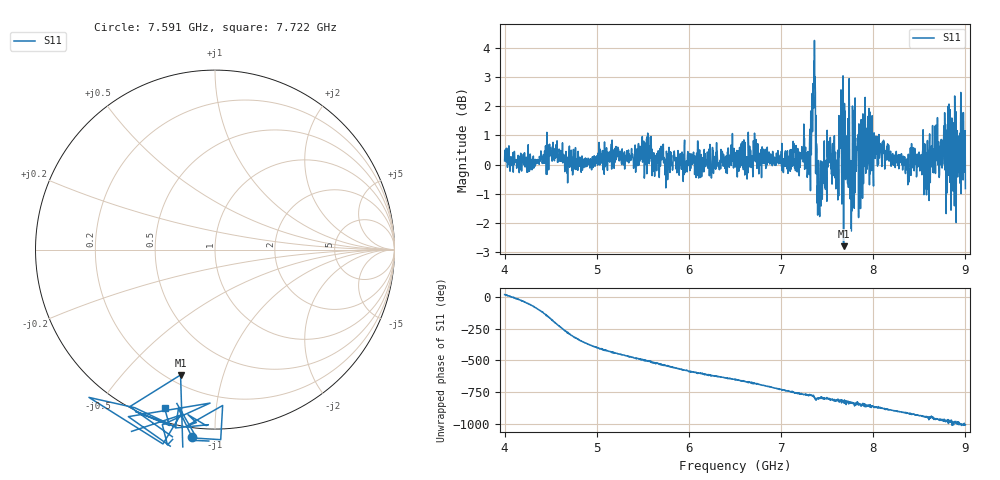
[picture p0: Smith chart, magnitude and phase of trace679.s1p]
! Created with skrf 1.8.0 (http://scikit-rf.org).
# Hz S RI R 50.0
!freq ReS11 ImS11
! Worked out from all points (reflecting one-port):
!   1601 points, 4 GHz to 9 GHz, reference 50 ohm
!   lowest |S11| = -2.8 dB at 7.678 GHz (marker M1), VSWR 6.25, Z = 12.5 - j36.6 ohm
!   phase of S11 starts at 18 deg and turns -1028 deg over the sweep
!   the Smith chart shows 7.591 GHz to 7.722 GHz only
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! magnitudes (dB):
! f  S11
! 4 GHz  0.1
! 4.625 GHz  0.2
! 5.25 GHz  0.4
! 5.572 GHz  0.3
! 5.625 GHz  0.3
! 5.875 GHz  -0.1
! 6.5 GHz  0.4
! 7.125 GHz  0.2
! 7.294 GHz  -0.1
! 7.319 GHz  -0.9
! 7.347 GHz  2.8
! 7.362 GHz  4.3
! 7.4 GHz  -0.1
! 7.416 GHz  -1.5
! 7.525 GHz  0.3
! 7.6 GHz  -0.2
! 7.65 GHz  2.6
! 7.678 GHz  -2.8
! 7.75 GHz  0.1
! 7.769 GHz  -0.4
! 7.822 GHz  0.6
! 7.928 GHz  1.1
! 8.375 GHz  -0.7
! 8.594 GHz  0.5
! 8.788 GHz  -0.2
! 8.919 GHz  0.0
! 8.972 GHz  1.0
! 9 GHz  -0.8
